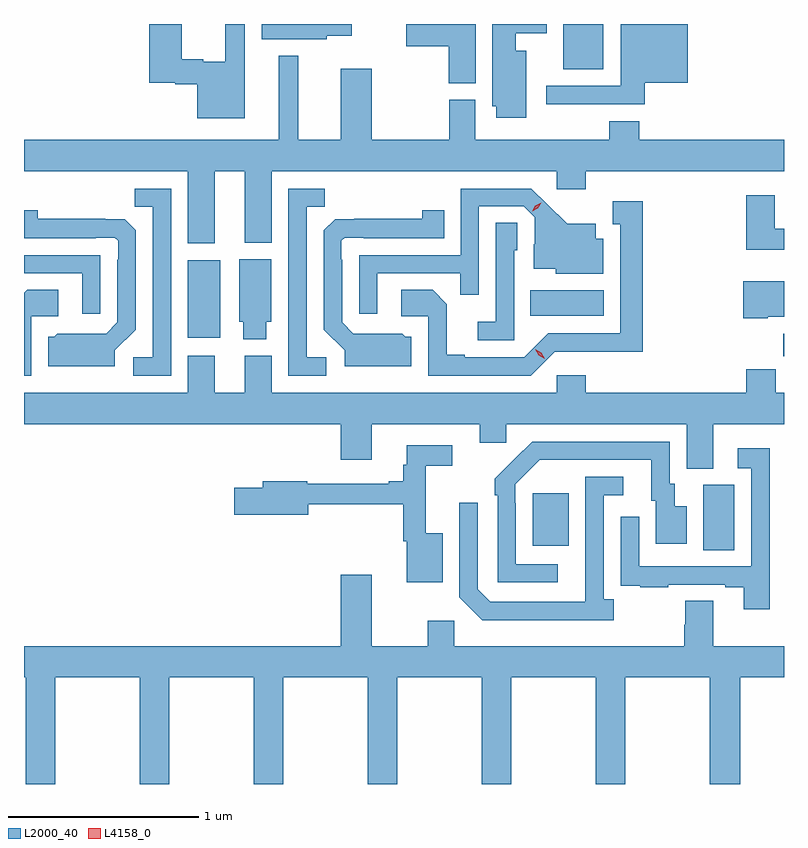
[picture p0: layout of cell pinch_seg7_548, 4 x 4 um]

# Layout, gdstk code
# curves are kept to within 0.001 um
import gdstk
lib = gdstk.Library(unit=1e-6, precision=1e-09)
def R(c, l, rs):  # rectangles x0, y0, x1, y1
    for r in rs: c.add(gdstk.rectangle(r[:2], r[2:], *l))
def P(c, l, *ps):  # polygons
    for p in ps: c.add(gdstk.Polygon(p, *l))
L2000_40 = (2000, 40)
L4158_0 = (4158, 0)

pinch_seg7_548 = lib.new_cell('pinch_seg7_548')
R(pinch_seg7_548, L2000_40, [(142.94,1042.576,143.104,1042.92), (142.043,1042.601,142.231,1042.876), (143.362,1043.598,143.365,1043.716), (140.228,1043.694,140.398,1044.103), (142.03,1043.81,142.417,1043.944), (142.202,1045.109,142.414,1045.346)])
P(pinch_seg7_548, L2000_40, [(142.631,1045.037),(142.858,1045.037),(142.858,1045.346),(142.505,1045.346),(142.505,1045.02),(142.113,1045.02),(142.113,1044.923),(142.631,1044.923)],
  [(140.527,1045.346),(140.423,1045.346),(140.423,1045.147),(140.309,1045.147),(140.309,1045.16),(140.194,1045.16),(140.194,1045.346),(140.024,1045.346),(140.024,1045.037),(140.16,1045.037),(140.16,1045.03),(140.276,1045.03),(140.276,1044.851),(140.527,1044.851)],
  [(142.009,1045.204),(141.952,1045.204),(141.952,1045.298),(142.117,1045.298),(142.117,1045.346),(141.83,1045.346),(141.83,1044.912),(141.851,1044.912),(141.851,1044.852),(142.009,1044.852)],
  [(141.742,1045.346),(141.378,1045.346),(141.378,1045.228),(141.601,1045.228),(141.601,1045.033),(141.742,1045.033)],
  [(140.958,1045.283),(141.091,1045.283),(141.091,1045.346),(140.615,1045.346),(140.615,1045.265),(140.958,1045.265)],
  [(140.368,1044.572),(140.528,1044.572),(140.528,1044.194),(140.668,1044.194),(140.668,1044.572),(142.17,1044.572),(142.17,1044.477),(142.322,1044.477),(142.322,1044.572),(143.365,1044.572),(143.365,1044.736),(142.604,1044.736),(142.604,1044.835),(142.444,1044.835),(142.444,1044.736),(141.739,1044.736),(141.739,1044.948),(141.604,1044.948),(141.604,1044.736),(141.196,1044.736),(141.196,1045.111),(141.032,1045.111),(141.032,1044.736),(140.809,1044.736),(140.809,1045.18),(140.705,1045.18),(140.705,1044.736),(139.365,1044.736),(139.365,1044.572),(140.228,1044.572),(140.228,1044.192),(140.368,1044.192)],
  [(141.225,1044.033),(141.661,1044.033),(141.661,1043.92),(141.759,1043.92),(141.759,1044.387),(141.996,1044.387),(142.053,1044.33),(142.053,1044.188),(142.049,1044.188),(142.049,1044.059),(142.164,1044.059),(142.164,1044.032),(142.414,1044.032),(142.414,1044.217),(142.375,1044.217),(142.375,1044.295),(142.223,1044.295),(142.036,1044.48),(141.663,1044.48),(141.663,1044.129),(141.129,1044.129),(141.129,1043.82),(141.225,1043.82)],
  [(140.139,1044.48),(139.948,1044.48),(139.948,1044.385),(140.043,1044.385),(140.043,1043.592),(139.941,1043.592),(139.941,1043.496),(140.139,1043.496)],
  [(140.956,1043.592),(140.853,1043.592),(140.853,1044.385),(140.949,1044.385),(140.949,1044.48),(140.757,1044.48),(140.757,1043.496),(140.956,1043.496)],
  [(143.365,1044.268),(143.317,1044.268),(143.317,1044.445),(143.165,1044.445),(143.165,1044.158),(143.365,1044.158)],
  [(142.158,1043.622),(142.621,1043.621),(142.621,1044.412),(142.463,1044.412),(142.463,1044.291),(142.502,1044.291),(142.502,1043.718),(142.125,1043.718),(141.999,1043.592),(141.685,1043.592),(141.685,1043.605),(141.591,1043.605),(141.591,1043.872),(141.515,1043.948),(141.351,1043.948),(141.351,1043.808),(141.492,1043.808),(141.492,1043.496),(142.032,1043.496)],
  [(141.403,1043.7),(141.372,1043.7),(141.356,1043.716),(141.099,1043.715),(141.039,1043.775),(141.039,1044.104),(141.036,1044.104),(141.036,1044.204),(141.054,1044.222),(141.154,1044.222),(141.154,1044.219),(141.578,1044.219),(141.578,1044.367),(141.46,1044.367),(141.46,1044.32),(141.002,1044.319),(140.943,1044.26),(140.943,1043.738),(141.053,1043.628),(141.053,1043.546),(141.403,1043.546)],
  [(139.843,1043.628),(139.953,1043.738),(139.953,1044.26),(139.894,1044.319),(139.437,1044.32),(139.437,1044.367),(139.365,1044.367),(139.365,1044.219),(139.742,1044.219),(139.742,1044.222),(139.842,1044.222),(139.86,1044.204),(139.86,1044.104),(139.857,1044.104),(139.857,1043.775),(139.797,1043.715),(139.54,1043.716),(139.524,1043.7),(139.493,1043.7),(139.493,1043.546),(139.843,1043.546)],
  [(141.945,1044.156),(141.96,1044.156),(141.96,1044.299),(141.849,1044.299),(141.849,1043.779),(141.753,1043.779),(141.753,1043.682),(141.945,1043.682)],
  [(139.767,1044.129),(139.365,1044.129),(139.365,1044.033),(139.671,1044.033),(139.671,1043.82),(139.767,1043.82)],
  [(140.641,1043.778),(140.665,1043.778),(140.665,1044.109),(140.498,1044.109),(140.498,1043.778),(140.519,1043.778),(140.519,1043.687),(140.641,1043.687)],
  [(143.28,1043.804),(143.365,1043.804),(143.365,1043.992),(143.15,1043.992),(143.15,1043.798),(143.28,1043.798)],
  [(139.404,1043.808),(139.546,1043.808),(139.546,1043.948),(139.381,1043.948),(139.365,1043.932),(139.365,1043.496),(139.404,1043.496)],
  [(142.993,1043.24),(143.365,1043.24),(143.365,1043.404),(143.321,1043.404),(143.321,1043.528),(143.165,1043.528),(143.165,1043.404),(142.322,1043.404),(142.322,1043.497),(142.17,1043.497),(142.17,1043.404),(140.668,1043.404),(140.668,1043.599),(140.528,1043.599),(140.528,1043.404),(140.368,1043.404),(140.368,1043.599),(140.228,1043.599),(140.228,1043.404),(139.365,1043.404),(139.365,1043.24),(141.032,1043.24),(141.032,1043.052),(141.196,1043.052),(141.196,1043.24),(141.764,1043.24),(141.764,1043.142),(141.903,1043.142),(141.903,1043.24),(142.853,1043.24),(142.853,1043.005),(142.993,1043.005)],
  [(142.174,1042.503),(141.954,1042.503),(141.954,1042.823),(141.951,1042.823),(141.951,1042.923),(142.08,1043.052),(142.667,1043.052),(142.667,1042.836),(142.691,1042.836),(142.691,1042.611),(142.852,1042.611),(142.852,1042.807),(142.789,1042.807),(142.789,1042.926),(142.764,1042.926),(142.764,1043.148),(142.04,1043.148),(141.843,1042.953),(141.843,1042.865),(141.858,1042.865),(141.858,1042.407),(142.174,1042.407)],
  [(141.568,1042.666),(141.479,1042.666),(141.479,1043.022),(141.619,1043.022),(141.619,1043.13),(141.38,1043.13),(141.38,1043.025),(141.361,1043.025),(141.361,1042.939),(141.284,1042.939),(141.284,1042.926),(140.856,1042.926),(140.856,1042.939),(140.621,1042.939),(140.621,1042.905),(140.472,1042.905),(140.472,1042.763),(140.86,1042.763),(140.86,1042.818),(141.361,1042.818),(141.361,1042.623),(141.38,1042.623),(141.38,1042.409),(141.568,1042.409)],
  [(143.289,1043.113),(143.121,1043.113),(143.121,1043.007),(143.193,1043.007),(143.193,1042.491),(142.602,1042.491),(142.602,1042.753),(142.506,1042.753),(142.506,1042.498),(142.507,1042.498),(142.507,1042.389),(142.609,1042.389),(142.609,1042.382),(142.757,1042.382),(142.757,1042.395),(143.057,1042.395),(143.057,1042.382),(143.153,1042.382),(143.153,1042.266),(143.289,1042.266)],
  [(142.468,1042.318),(142.416,1042.318),(142.416,1042.866),(142.519,1042.866),(142.519,1042.962),(142.32,1042.962),(142.319,1042.305),(141.819,1042.305),(141.753,1042.371),(141.753,1042.825),(141.657,1042.825),(141.657,1042.329),(141.778,1042.208),(142.468,1042.208)],
  [(142.846,1042.31),(142.846,1042.185),(142.841,1042.185),(142.841,1042.072),(141.63,1042.072),(141.63,1042.204),(141.491,1042.204),(141.491,1042.072),(141.196,1042.072),(141.196,1042.447),(141.032,1042.447),(141.032,1042.072),(139.365,1042.072),(139.365,1041.908),(139.375,1041.908),(139.375,1041.346),(139.53,1041.346),(139.53,1041.908),(139.975,1041.908),(139.975,1041.346),(140.13,1041.346),(140.13,1041.908),(140.575,1041.908),(140.575,1041.346),(140.73,1041.346),(140.73,1041.908),(141.175,1041.908),(141.175,1041.346),(141.33,1041.346),(141.33,1041.908),(141.775,1041.908),(141.775,1041.346),(141.93,1041.346),(141.93,1041.908),(142.375,1041.908),(142.375,1041.346),(142.53,1041.346),(142.53,1041.908),(142.975,1041.908),(142.975,1041.346),(143.135,1041.346),(143.135,1041.908),(143.365,1041.908),(143.365,1042.072),(142.993,1042.072),(142.993,1042.31)])
P(pinch_seg7_548, L4158_0, [(142.039,1044.36),(142.039,1044.36),(142.056,1044.39),(142.087,1044.406),(142.087,1044.406),(142.087,1044.406),(142.07,1044.376),(142.039,1044.36)],
  [(142.105,1043.583),(142.073,1043.602),(142.055,1043.635),(142.055,1043.635),(142.055,1043.635),(142.087,1043.616),(142.105,1043.583),(142.105,1043.583)])

lib.write_gds('pinch_seg7_548.gds')
